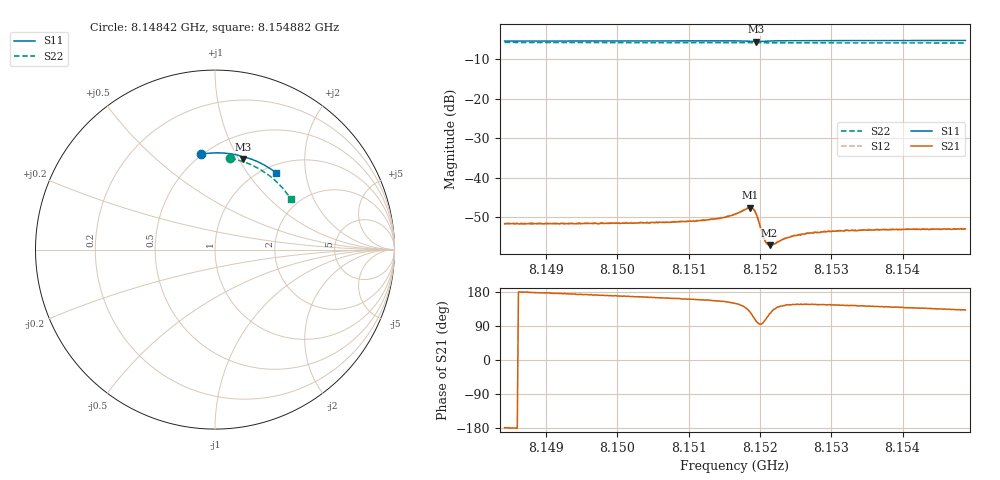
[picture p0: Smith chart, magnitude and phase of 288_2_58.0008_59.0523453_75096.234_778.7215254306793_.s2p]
#  HZ  S  RI  R  50.00
! Rohde & Schwarz Vector Network Analyzer
! Rohde-Schwarz,ZNB20-2Port,1311601062101988,3.16
! Created: UTC 3/21/2024, 1:03:10 AM
! freq[Hz]  re:S11  im:S11  re:S21  im:S21  re:S12  im:S12  re:S22  im:S22
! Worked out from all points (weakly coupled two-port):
!   401 points, 8.14842 GHz to 8.154882 GHz, reference 50 ohm
!   highest |S21| = -47.57 dB at 8.151861 GHz (marker M1); lowest = -57.1 dB at 8.152135 GHz (marker M2)
!   lowest |S11| = -5.5 dB at 8.151942 GHz (marker M3), VSWR 3.25, Z = 37.2 + j52.3 ohm
!   |S11| at or under -10 dB: nowhere
!   |S22| runs from -5.9 to -5.8 dB; largest |S21 - S12| = 0.00012
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8.1484195e9  -0.0807 0.5308  -0.00262 -5.77e-05  -0.00266 -1.9e-05  0.0859 0.5084
8.149502e9  -0.00562 0.5388  -0.00263 0.000323  -0.00262 0.000369  0.1543 0.4909
8.1505844e9  0.0699 0.5359  -0.00264 0.000748  -0.00263 0.000804  0.2192 0.4641
8.1512145e9  0.1139 0.5291  -0.00272 0.00109  -0.00274 0.00112  0.2549 0.4448
8.1514568e9  0.1312 0.5252  -0.00281 0.0013  -0.00285 0.00136  0.2682 0.4364
8.1516507e9  0.1456 0.5206  -0.00297 0.00176  -0.00298 0.00179  0.2787 0.4294
8.1518123e9  0.1572 0.5128  -0.00292 0.00283  -0.00289 0.0029  0.2871 0.4236
8.1518607e9  0.1589 0.5092  -0.0025 0.00336  -0.00246 0.00346  0.2895 0.4215
8.1519092e9  0.1583 0.5059  -0.00156 0.0037  -0.00158 0.00372  0.2918 0.4198
8.1519415e9  0.1569 0.5056  -0.000886 0.00348  -0.000799 0.00352  0.2933 0.4185
8.1519738e9  0.1562 0.5069  -0.000389 0.00298  -0.000328 0.00299  0.295 0.4175
8.1520384e9  0.1588 0.5107  -0.000232 0.0019  -0.000202 0.00189  0.2984 0.4152
8.1520708e9  0.1614 0.5118  -0.000397 0.00156  -0.000388 0.00156  0.3001 0.4141
8.1521031e9  0.1641 0.5125  -0.000585 0.00135  -0.00052 0.00135  0.3016 0.4128
8.1521354e9  0.1671 0.5127  -0.000743 0.00119  -0.000741 0.00122  0.3033 0.4115
8.1521838e9  0.171 0.5124  -0.000954 0.00107  -0.000977 0.0011  0.3061 0.4097
8.1523454e9  0.1836 0.51  -0.00138 0.00102  -0.00139 0.000996  0.3141 0.4033
8.1524585e9  0.1918 0.5077  -0.00153 0.00101  -0.0015 0.00105  0.3198 0.3987
8.1527332e9  0.2105 0.5011  -0.00168 0.00108  -0.00168 0.00114  0.333 0.3871
8.153234e9  0.2429 0.4872  -0.00176 0.00126  -0.00176 0.00128  0.3562 0.3651
8.1538156e9  0.2789 0.4686  -0.0017 0.00143  -0.0017 0.00147  0.381 0.3376
8.1548819e9  0.3402 0.428  -0.00151 0.00168  -0.0015 0.0017  0.4211 0.2835
